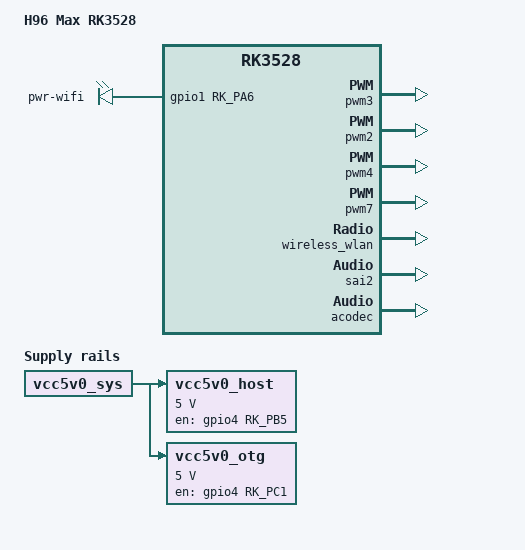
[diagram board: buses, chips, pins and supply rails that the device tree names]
// SPDX-License-Identifier: (GPL-2.0+ OR MIT)
/dts-v1/;

#include "rk3528-hinlink-ht2.dts"

/ {
	model = "H96 Max RK3528";
	compatible = "h96,h96max-rk3528", "rockchip,rk3528";

	chosen {
		stdout-path = "serial0:115200n8";
		bootargs = "earlycon=uart8250,mmio32,0xff9f0000 console=ttyS0,115200n8";
	};

	/* USB power enables are GPIO4_PB5 and GPIO4_PC1 in the running DTB. */
	vcc5v0_host: vcc5v0-host-regulator {
		compatible = "regulator-fixed";
		regulator-name = "vcc5v0_host";
		regulator-min-microvolt = <5000000>;
		regulator-max-microvolt = <5000000>;
		regulator-boot-on;
		regulator-always-on;
		enable-active-high;
		gpio = <&gpio4 RK_PB5 GPIO_ACTIVE_HIGH>;
		vin-supply = <&vcc5v0_sys>;
	};

	vcc5v0_otg: vcc5v0-otg-regulator {
		compatible = "regulator-fixed";
		regulator-name = "vcc5v0_otg";
		regulator-min-microvolt = <5000000>;
		regulator-max-microvolt = <5000000>;
		enable-active-high;
		gpio = <&gpio4 RK_PC1 GPIO_ACTIVE_HIGH>;
		vin-supply = <&vcc5v0_sys>;
	};

	acodec_sound: acodec-sound {
		compatible = "simple-audio-card";
		simple-audio-card,name = "rk3528-acodec";
		simple-audio-card,format = "i2s";
		simple-audio-card,mclk-fs = <256>;
		simple-audio-card,cpu { sound-dai = <&sai2>; };
		simple-audio-card,codec { sound-dai = <&acodec>; };
	};
};

/* Android uses PWM3 for the IR receiver. */
&pwm3 { status = "okay"; };
&adc_keys { status = "okay"; };

&vdd_cpu { pwms = <&pwm7 0 5000 1>; };
&vdd_gpu { pwms = <&pwm4 0 5000 1>; };

&pwm0 { status = "disabled"; };
&pwm1 { status = "disabled"; };
&pwm2 { status = "okay"; };
&pwm4 { status = "okay"; };
&pwm7 { status = "okay"; };

&sdmmc {
	/* Keep the SD slot at 3.3 V while debugging card reinitialisation. */
	max-frequency = <25000000>;
	no-1-8-v;
	no-sdio;
	no-mmc;
	pinctrl-names = "default", "normal", "idle";
	pinctrl-1 = <&sdmmc_clk &sdmmc_cmd &sdmmc_det &sdmmc_bus4>;
	pinctrl-2 = <&sdmmc_clk &sdmmc_cmd &sdmmc_det &sdmmc_bus4>;
	/delete-property/ sd-uhs-sdr12;
	/delete-property/ sd-uhs-sdr25;
	/delete-property/ sd-uhs-sdr104;
	/delete-property/ sd-uhs-sdr50;
};

/* HT2 uses GPIO1_PA6; the H96 Max Wi-Fi reset is GPIO4_PA4. */
&sdio_pwrseq {
	/* Android also muxes GPIO1_PC3 to CLKM1 32 kHz for the radio. */
	pinctrl-0 = <&h96_wifi_enable &clkm1_32k_out>;
	reset-gpios = <&gpio4 RK_PA4 GPIO_ACTIVE_LOW>;
};

/* Preserve the original Android WLAN platform string for this board. */
&wireless_wlan { wifi_chip_type = "ap6275s"; };

/* Android's Wi-Fi SDIO node keeps this tuning flag enabled. */
&sdio0 { rockchip,use-v2-tuning; };

&pinctrl {
	h96-wifi {
		h96_wifi_enable: wifi-enable {
			rockchip,pins = <4 RK_PA4 RK_FUNC_GPIO &pcfg_pull_none>;
		};
	};
};

&sai2 { status = "okay"; };
&acodec {
	status = "okay";
	pa-ctl-gpios = <&gpio0 RK_PA0 GPIO_ACTIVE_HIGH>;
};

/* HT2's LEDs are wired differently; Android reports GPIO1_PA6. */
&leds {
	/delete-property/ pinctrl-0;
	/delete-node/ work;
	/delete-node/ wlan;
	pwr-wifi {
		gpios = <&gpio1 RK_PA6 GPIO_ACTIVE_HIGH>;
		linux,default-trigger = "none";
		default-state = "on";
	};
};

&u2phy_host { phy-supply = <&vcc5v0_host>; };
&u2phy_otg { vbus-supply = <&vcc5v0_otg>; };

&scmi_clk { assigned-clock-rates = <600000000>; };

&cpu0_opp_table {
	/delete-node/ opp-816000000;
	/delete-node/ opp-1008000000;
	/delete-node/ opp-1200000000;
	/delete-node/ opp-1416000000;
	/delete-node/ opp-1608000000;
	/delete-node/ opp-1800000000;
	/delete-node/ opp-2016000000;
};

&dmc { status = "disabled"; };
/* Keep the installed Android/eMMC invisible to the Linux MMC driver. */
&sdhci { status = "disabled"; };
